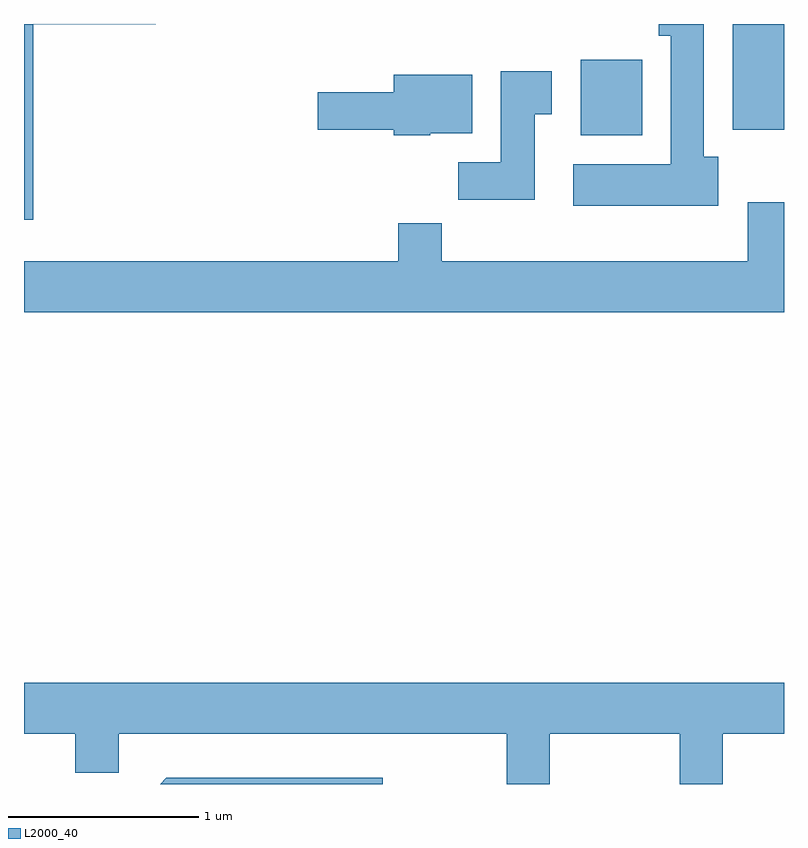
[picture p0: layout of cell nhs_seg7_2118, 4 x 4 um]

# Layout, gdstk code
import gdstk
lib = gdstk.Library(unit=1e-6, precision=1e-09)
def R(c, l, rs):  # rectangles x0, y0, x1, y1
    for r in rs: c.add(gdstk.rectangle(r[:2], r[2:], *l))
def P(c, l, *ps):  # polygons
    for p in ps: c.add(gdstk.Polygon(p, *l))
L2000_40 = (2000, 40)

nhs_seg7_2118 = lib.new_cell('nhs_seg7_2118')
R(nhs_seg7_2118, L2000_40, [(252.541,1739.666,252.864,1740.064), (253.341,1739.696,253.611,1740.252)])
P(nhs_seg7_2118, L2000_40, [(253.264,1739.554),(253.189,1739.554),(253.189,1740.252),(252.953,1740.252),(252.953,1740.191),(253.016,1740.191),(253.016,1739.514),(252.501,1739.514),(252.501,1739.296),(253.264,1739.296)],
  [(249.659,1740.251),(250.304,1740.251),(250.304,1740.252),(249.611,1740.252),(249.611,1739.223),(249.659,1739.223)],
  [(252.299,1739.776),(252.389,1739.776),(252.389,1740.004),(252.121,1740.004),(252.121,1739.524),(251.896,1739.524),(251.896,1739.326),(252.299,1739.326)],
  [(251.75,1739.676),(251.969,1739.676),(251.969,1739.984),(251.556,1739.984),(251.556,1739.894),(251.156,1739.894),(251.156,1739.696),(251.556,1739.696),(251.556,1739.666),(251.75,1739.666)],
  [(253.611,1739.314),(253.421,1739.314),(253.421,1739.004),(251.809,1739.004),(251.809,1739.204),(251.581,1739.204),(251.581,1739.004),(249.611,1739.004),(249.611,1738.736),(253.611,1738.736)],
  [(252.379,1736.516),(253.061,1736.516),(253.061,1736.252),(253.289,1736.252),(253.289,1736.516),(253.611,1736.516),(253.611,1736.784),(249.611,1736.784),(249.611,1736.516),(249.881,1736.516),(249.881,1736.311),(250.109,1736.311),(250.109,1736.516),(252.151,1736.516),(252.151,1736.252),(252.379,1736.252)],
  [(251.498,1736.284),(250.359,1736.284),(250.327,1736.252),(251.498,1736.252)])

lib.write_gds('nhs_seg7_2118.gds')
